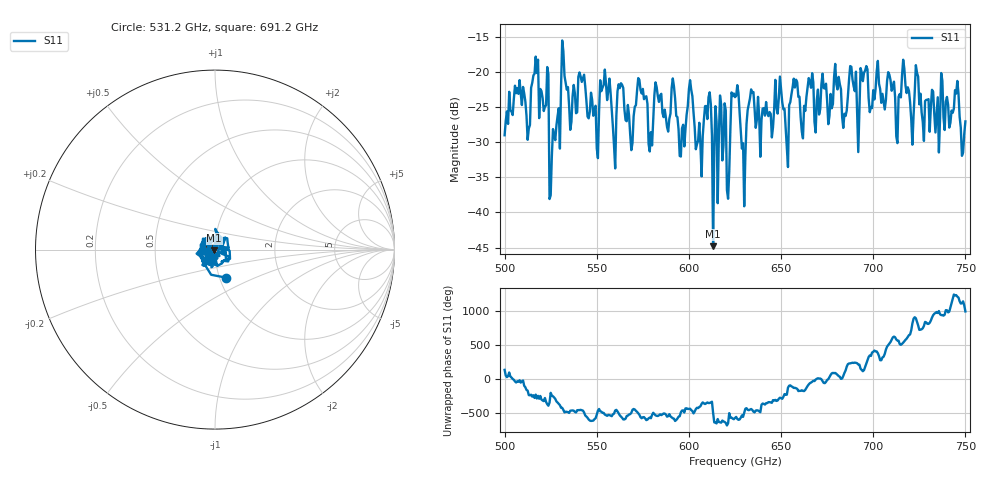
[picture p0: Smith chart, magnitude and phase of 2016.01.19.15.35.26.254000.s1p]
!Created with skrf (http://scikit-rf.org).
# GHz S RI R 50.0
!freq ReS11 ImS11
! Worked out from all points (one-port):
!   401 points, 500 GHz to 750 GHz, reference 50 ohm
!   lowest |S11| = -44.8 dB at 613.1 GHz (marker M1), VSWR 1.01, Z = 49.5 - j0.34 ohm
!   |S11| at or under -10 dB: start of sweep to end of sweep
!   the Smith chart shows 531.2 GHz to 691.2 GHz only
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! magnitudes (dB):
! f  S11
! 500 GHz  -29.0
! 506.9 GHz  -22.2
! 512.5 GHz  -29.6
! 516.9 GHz  -17.7
! 525.6 GHz  -32.0
! 531.2 GHz  -15.4
! 549.4 GHz  -24.8
! 555.6 GHz  -24.0
! 559.4 GHz  -30.5
! 562.5 GHz  -22.2
! 568.8 GHz  -31.1
! 573.8 GHz  -22.5
! 579.4 GHz  -28.5
! 582.5 GHz  -22.1
! 593.8 GHz  -26.4
! 605.6 GHz  -27.2
! 610.6 GHz  -23.5
! 613.1 GHz  -44.8
! 621.2 GHz  -38.0
! 625 GHz  -23.5
! 629.4 GHz  -30.1
! 633.8 GHz  -22.4
! 652.5 GHz  -28.1
! 656.2 GHz  -22.1
! 684.4 GHz  -25.9
! 687.5 GHz  -19.1
! 718.8 GHz  -22.1
! 750 GHz  -27.0
